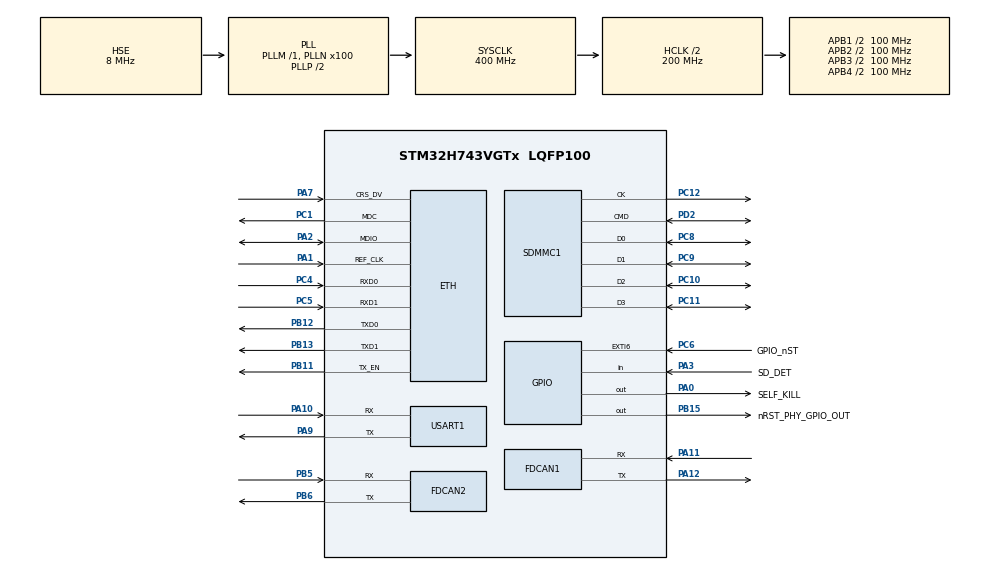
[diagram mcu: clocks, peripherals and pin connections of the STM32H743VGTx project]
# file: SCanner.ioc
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CORTEX_M7.AccessPermission_S-Cortex_Memory_Protection_Unit_Region1_Settings_S=MPU_REGION_FULL_ACCESS
CORTEX_M7.AccessPermission_S-Cortex_Memory_Protection_Unit_Region2_Settings_S=MPU_REGION_FULL_ACCESS
CORTEX_M7.BaseAddress_S-Cortex_Memory_Protection_Unit_Region1_Settings_S=0x30020000
CORTEX_M7.BaseAddress_S-Cortex_Memory_Protection_Unit_Region2_Settings_S=0x30040000
CORTEX_M7.CPU_DCache=Enabled
CORTEX_M7.CPU_ICache=Enabled
CORTEX_M7.DisableExec_S-Cortex_Memory_Protection_Unit_Region2_Settings_S=MPU_INSTRUCTION_ACCESS_DISABLE
CORTEX_M7.Enable-Cortex_Memory_Protection_Unit_Region0_Settings=MPU_REGION_ENABLE
CORTEX_M7.Enable-Cortex_Memory_Protection_Unit_Region1_Settings=MPU_REGION_ENABLE
CORTEX_M7.Enable_S-Cortex_Memory_Protection_Unit_Region1_Settings_S=MPU_REGION_ENABLE
CORTEX_M7.Enable_S-Cortex_Memory_Protection_Unit_Region2_Settings_S=MPU_REGION_ENABLE
CORTEX_M7.IsBufferable_S-Cortex_Memory_Protection_Unit_Region2_Settings_S=MPU_ACCESS_BUFFERABLE
CORTEX_M7.IsShareable_S-Cortex_Memory_Protection_Unit_Region2_Settings_S=MPU_ACCESS_SHAREABLE
CORTEX_M7.MPU_Control=MPU_PRIVILEGED_DEFAULT
CORTEX_M7.Size_S-Cortex_Memory_Protection_Unit_Region1_Settings_S=MPU_REGION_SIZE_128KB
CORTEX_M7.Size_S-Cortex_Memory_Protection_Unit_Region2_Settings_S=MPU_REGION_SIZE_512B
CORTEX_M7.TypeExtField_S-Cortex_Memory_Protection_Unit_Region1_Settings_S=MPU_TEX_LEVEL1
CORTEX_M7.default_mode_Activation=1
ETH.MediaInterface=HAL_ETH_RMII_MODE
ETH.RxDescAddress=0x30040000
ETH.TxDescAddress=0x30040200
FATFS.BSP.number=1
FATFS._FS_LOCK=10
FATFS._FS_RPATH=1
FATFS._MAX_SS=512
FATFS._USE_MUTEX=1
FATFS0.BSP.STBoard=false
FATFS0.BSP.api=Unknown
FATFS0.BSP.instance=PA3
FATFS0.BSP.ip=GPIO
FATFS0.BSP.mode=Input
FATFS0.BSP.name=Detect_SDIO
FATFS0.BSP.solution=PA3
FDCAN1.AutoRetransmission=DISABLE
FDCAN1.CalculateBaudRateNominal=1000000
FDCAN1.CalculateTimeBitNominal=1000
FDCAN1.CalculateTimeQuantumNominal=10.0
FDCAN1.ClockCalibrationCCU=DISABLE
FDCAN1.DataPrescaler=10
FDCAN1.DataTimeSeg1=8
FDCAN1.Mode=FDCAN_MODE_BUS_MONITORING
FDCAN1.NominalPrescaler=1
FDCAN1.NominalSyncJumpWidth=13
FDCAN1.NominalTimeSeg1=86
FDCAN1.NominalTimeSeg2=13
FDCAN1.ProtocolException=DISABLE
FDCAN1.RxFifo0ElmtsNbr=64
FDCAN1.StdFiltersNbr=1
FDCAN1.TxFifoQueueElmtsNbr=32
FDCAN2.AutoRetransmission=DISABLE
FDCAN2.CalculateBaudRateNominal=1000000
FDCAN2.CalculateTimeBitNominal=1000
FDCAN2.CalculateTimeQuantumNominal=10.0
FDCAN2.DataPrescaler=10
FDCAN2.DataTimeSeg1=8
FDCAN2.MessageRAMOffset=385
FDCAN2.Mode=FDCAN_MODE_BUS_MONITORING
FDCAN2.NominalPrescaler=1
FDCAN2.NominalTimeSeg1=86
FDCAN2.NominalTimeSeg2=13
FDCAN2.ProtocolException=DISABLE
FDCAN2.RxFifo0ElmtsNbr=0
FDCAN2.RxFifo1ElmtsNbr=64
FDCAN2.StdFiltersNbr=1
FDCAN2.TxFifoQueueElmtsNbr=32
FREERTOS.Events01=System_InitEvent,Static,System_InitEventControlBlock
FREERTOS.Mutexes01=SDCARD_FILE_LOCK,Static,SDCARD_FILE_LOCKControlBlock;SDCARD_DIR_LOCK,Static,SDCARD_DIR_LOCKControlBlock
FREERTOS.Tasks01=defaultTask,24,2048,StartDefaultTask,Default,NULL,Static,defaultTaskBuffer,defaultTaskControlBlock;can1TaskName,24,256,canTask,As external,&can1_network,Static,can1TaskNameBuffer,can1TaskNameControlBlock;can2TaskName,24,256,canTask,As external,&can2_network,Static,can2TaskNameBuffer,can2TaskNameControlBlock;cnl1TaskName,24,512,cannelloniTask,As external,&cnl1_handle,Static,cnl1TaskNameBuffer,cnl1TaskNameControlBlock;cnl2TaskName,24,512,cannelloniTask,As external,&cnl2_handle,Static,cnl2TaskNameBuffer,cnl2TaskNameControlBlock;sdcardTaskName,32,2048,sdcardTask,As external,NULL,Static,sdcardTaskNameBuffer,sdcardTaskNameControlBlock;InitTaskName,40,512,InitTask,Default,NULL,Static,InitTaskNameBuffer,InitTaskNameControlBlock
FREERTOS.configCHECK_FOR_STACK_OVERFLOW=1
FREERTOS.configENABLE_FPU=1
FREERTOS.configUSE_PREEMPTION=1
LWIP.BSP.number=1
LWIP.HTTPD_TCP_PRIO=100
LWIP.HTTPD_USE_CUSTOM_FSDATA=1
LWIP.HTTPD_USE_MEM_POOL=0
LWIP.IP_ADDRESS=192.168.010.111
LWIP.LWIP_DHCP=0
LWIP.LWIP_DNS=0
LWIP.LWIP_HTTPD=1
LWIP.LWIP_HTTPD_CUSTOM_FILES=1
LWIP.LWIP_HTTPD_DYNAMIC_FILE_READ=1
LWIP.LWIP_HTTPD_DYNAMIC_HEADERS=0
LWIP.LWIP_RAM_HEAP_POINTER=0x30020000\t
LWIP.LWIP_SMTP=0
LWIP.LWIP_TFTP=1
LWIP.MEM_SIZE=131048
LWIP.NETMASK_ADDRESS=255.255.255.000
LWIP.TFTP_MAX_FILENAME_LEN=50
LWIP.Version=v2.1.2_Cube
LWIP0.BSP.STBoard=false
LWIP0.BSP.api=BSP_COMPONENT_DRIVER
LWIP0.BSP.component=LAN8742
LWIP0.BSP.instance=LAN8742
LWIP0.BSP.name=Driver_PHY
LWIP0.BSP.semaphore=S_LAN8742
LWIP0.BSP.solution=LAN8742
Mcu.Family=STM32H7
Mcu.Name=STM32H743VGTx
Mcu.Package=LQFP100
Mcu.UserConstants=LWIP_Init_Done,0x1;SDCARD_Init_Done,0x2
NVIC.ETH_IRQn=true\:5\:0\:false\:false\:true\:true\:true\:true\:true
NVIC.EXTI9_5_IRQn=true\:5\:0\:false\:false\:true\:true\:true\:true\:true
NVIC.FDCAN1_IT0_IRQn=true\:5\:0\:false\:false\:true\:true\:true\:true\:true
NVIC.FDCAN1_IT1_IRQn=true\:5\:0\:false\:false\:true\:true\:true\:true\:true
NVIC.FDCAN2_IT0_IRQn=true\:5\:0\:false\:false\:true\:true\:true\:true\:true
NVIC.FDCAN2_IT1_IRQn=true\:5\:0\:false\:false\:true\:true\:true\:true\:true
NVIC.FDCAN_CAL_IRQn=true\:5\:0\:false\:false\:true\:true\:true\:true\:true
NVIC.PriorityGroup=NVIC_PRIORITYGROUP_4
NVIC.SDMMC1_IRQn=true\:5\:0\:false\:false\:true\:true\:true\:true\:true
NVIC.TIM3_IRQn=true\:5\:0\:false\:false\:true\:true\:true\:true\:true
NVIC.TIM6_DAC_IRQn=true\:15\:0\:false\:false\:true\:false\:false\:true\:true
NVIC.TimeBase=TIM6_DAC_IRQn
NVIC.TimeBaseIP=TIM6
PA0.GPIO_Label=SELF_KILL
PA0.Signal=GPIO_Output
PA1.GPIO_PuPd=GPIO_NOPULL
PA1.GPIO_Speed=GPIO_SPEED_FREQ_VERY_HIGH
PA1.Mode=RMII
PA1.Signal=ETH_REF_CLK
PA10.Mode=Asynchronous
PA10.Signal=USART1_RX
PA11.Mode=FDCAN_Activate
PA11.Signal=FDCAN1_RX
PA12.Mode=FDCAN_Activate
PA12.Signal=FDCAN1_TX
PA13\ (JTMS/SWDIO).Mode=JTAG_4_pins
PA13\ (JTMS/SWDIO).Signal=DEBUG_JTMS-SWDIO
PA14\ (JTCK/SWCLK).Mode=JTAG_4_pins
PA14\ (JTCK/SWCLK).Signal=DEBUG_JTCK-SWCLK
PA15\ (JTDI).Mode=JTAG_4_pins
PA15\ (JTDI).Signal=DEBUG_JTDI
PA2.GPIO_PuPd=GPIO_NOPULL
PA2.GPIO_Speed=GPIO_SPEED_FREQ_VERY_HIGH
PA2.Mode=RMII
PA2.Signal=ETH_MDIO
PA3.GPIO_Label=SD_DET
PA3.Signal=GPIO_Input
PA7.GPIO_PuPd=GPIO_NOPULL
PA7.GPIO_Speed=GPIO_SPEED_FREQ_VERY_HIGH
PA7.Mode=RMII
PA7.Signal=ETH_CRS_DV
PA9.Mode=Asynchronous
PA9.Signal=USART1_TX
PB11.GPIO_Speed=GPIO_SPEED_FREQ_VERY_HIGH
PB11.Mode=RMII
PB11.Signal=ETH_TX_EN
PB12.GPIO_Speed=GPIO_SPEED_FREQ_VERY_HIGH
PB12.Mode=RMII
PB12.Signal=ETH_TXD0
PB13.GPIO_Speed=GPIO_SPEED_FREQ_VERY_HIGH
PB13.Mode=RMII
PB13.Signal=ETH_TXD1
PB15.GPIO_Label=nRST_PHY_GPIO_OUT
PB15.Signal=GPIO_Output
PB3\ (JTDO/TRACESWO).Mode=JTAG_4_pins
PB3\ (JTDO/TRACESWO).Signal=DEBUG_JTDO-SWO
PB5.Mode=FDCAN_Activate
PB5.Signal=FDCAN2_RX
PB6.Mode=FDCAN_Activate
PB6.Signal=FDCAN2_TX
PC1.GPIO_Speed=GPIO_SPEED_FREQ_LOW
PC1.Mode=RMII
PC1.Signal=ETH_MDC
PC10.Mode=SD_4_bits_Wide_bus
PC10.Signal=SDMMC1_D2
PC11.Mode=SD_4_bits_Wide_bus
PC11.Signal=SDMMC1_D3
PC12.Mode=SD_4_bits_Wide_bus
PC12.Signal=SDMMC1_CK
PC4.GPIO_PuPd=GPIO_NOPULL
PC4.GPIO_Speed=GPIO_SPEED_FREQ_VERY_HIGH
PC4.Mode=RMII
PC4.Signal=ETH_RXD0
PC5.GPIO_PuPd=GPIO_NOPULL
PC5.GPIO_Speed=GPIO_SPEED_FREQ_VERY_HIGH
PC5.Mode=RMII
PC5.Signal=ETH_RXD1
PC6.GPIO_Label=GPIO_nST
PC6.GPIO_ModeDefaultEXTI=GPIO_MODE_IT_FALLING
PC6.GPIO_PuPd=GPIO_PULLDOWN
PC6.Signal=GPXTI6
PC8.Mode=SD_4_bits_Wide_bus
PC8.Signal=SDMMC1_D0
PC9.Mode=SD_4_bits_Wide_bus
PC9.Signal=SDMMC1_D1
PD2.Mode=SD_4_bits_Wide_bus
PD2.Signal=SDMMC1_CMD
PH0-OSC_IN\ (PH0).Mode=HSE-External-Oscillator
PH0-OSC_IN\ (PH0).Signal=RCC_OSC_IN
PH1-OSC_OUT\ (PH1).Mode=HSE-External-Oscillator
PH1-OSC_OUT\ (PH1).Signal=RCC_OSC_OUT
ProjectManager.HeapSize=0x200
ProjectManager.StackSize=0x400
ProjectManager.TargetToolchain=Makefile
RCC.ADCFreq_Value=16125000
RCC.APB1Freq_Value=100000000
RCC.APB2Freq_Value=100000000
RCC.APB3Freq_Value=100000000
RCC.APB4Freq_Value=100000000
RCC.CortexFreq_Value=400000000
RCC.D1PPRE=RCC_APB3_DIV2
RCC.D2PPRE1=RCC_APB1_DIV2
RCC.D2PPRE2=RCC_APB2_DIV2
RCC.D3PPRE=RCC_APB4_DIV2
RCC.DIVM1=1
RCC.DIVN1=100
RCC.DIVQ1=8
RCC.HCLKFreq_Value=200000000
RCC.HPRE=RCC_HCLK_DIV2
RCC.HSE_VALUE=8000000
RCC.PLLFRACN=0
RCC.PLLSourceVirtual=RCC_PLLSOURCE_HSE
RCC.SYSCLKFreq_VALUE=400000000
RCC.SYSCLKSource=RCC_SYSCLKSOURCE_PLLCLK
RCC.USBFreq_Value=100000000
SDMMC1.ClockDiv=6
SDMMC1.HardwareFlowControl=SDMMC_HARDWARE_FLOW_CONTROL_ENABLE
TIM3.ClockDivision=TIM_CLOCKDIVISION_DIV1
TIM3.Prescaler=1999
USART1.VirtualMode-Asynchronous=VM_ASYNC
VP_FATFS_VS_SDIO.Mode=SDIO
VP_FREERTOS_VS_CMSIS_V2.Mode=CMSIS_V2
VP_LWIP_VS_Enabled.Mode=Enabled
VP_SYS_VS_tim6.Mode=TIM6
VP_TIM3_VS_ClockSourceINT.Mode=Internal
board=custom

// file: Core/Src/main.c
/* USER CODE BEGIN Header */
/**
  ******************************************************************************
  * @file           : main.c
  * @brief          : Main program body
  ******************************************************************************
  * @attention
  *
  * Copyright (c) 2024 STMicroelectronics.
  * All rights reserved.
  *
  * This software is licensed under terms that can be found in the LICENSE file
  * in the root directory of this software component.
  * If no LICENSE file comes with this software, it is provided AS-IS.
  *
  ******************************************************************************
  */
/* USER CODE END Header */
#include "main.h"
#include "cmsis_os.h"
#include "fatfs.h"
#include "fdcan.h"
#include "lwip.h"
#include "sdmmc.h"
#include "tim.h"
#include "usart.h"
#include "gpio.h"

/* USER CODE BEGIN Includes */
#include "can_task.h"
/* USER CODE END Includes */

void SystemClock_Config(void);
static void MPU_Config(void);
void MX_FREERTOS_Init(void);

int main(void)
{

  /* MPU Configuration--------------------------------------------------------*/
  MPU_Config();

  /* Enable the CPU Cache */

  /* Enable I-Cache---------------------------------------------------------*/
  SCB_EnableICache();

  /* Enable D-Cache---------------------------------------------------------*/
  SCB_EnableDCache();

  /* MCU Configuration--------------------------------------------------------*/

  /* Reset of all peripherals, Initializes the Flash interface and the Systick. */
  HAL_Init();

  /* Configure the system clock */
  SystemClock_Config();

  /* Initialize all configured peripherals */
  MX_GPIO_Init();
  MX_FDCAN2_Init();
  MX_SDMMC1_SD_Init();
  MX_USART1_UART_Init();
  MX_FDCAN1_Init();
  MX_FATFS_Init();
  MX_TIM3_Init();

  /* Init scheduler */
  osKernelInitialize();

  /* Call init function for freertos objects (in cmsis_os2.c) */
  MX_FREERTOS_Init();

  /* Start scheduler */
  osKernelStart();

  /* We should never get here as control is now taken by the scheduler */

  /* Infinite loop */
  while (1)
  {

  }
}

void SystemClock_Config(void)
{
  RCC_OscInitTypeDef RCC_OscInitStruct = {0};
  RCC_ClkInitTypeDef RCC_ClkInitStruct = {0};

  /** Supply configuration update enable
  */
  HAL_PWREx_ConfigSupply(PWR_LDO_SUPPLY);

  /** Configure the main internal regulator output voltage
  */
  __HAL_PWR_VOLTAGESCALING_CONFIG(PWR_REGULATOR_VOLTAGE_SCALE1);

  while(!__HAL_PWR_GET_FLAG(PWR_FLAG_VOSRDY)) {}

  /** Initializes the RCC Oscillators according to the specified parameters
  * in the RCC_OscInitTypeDef structure.
  */
  RCC_OscInitStruct.OscillatorType = RCC_OSCILLATORTYPE_HSE;
  RCC_OscInitStruct.HSEState = RCC_HSE_ON;
  RCC_OscInitStruct.PLL.PLLState = RCC_PLL_ON;
  RCC_OscInitStruct.PLL.PLLSource = RCC_PLLSOURCE_HSE;
  RCC_OscInitStruct.PLL.PLLM = 1;
  RCC_OscInitStruct.PLL.PLLN = 100;
  RCC_OscInitStruct.PLL.PLLP = 2;
  RCC_OscInitStruct.PLL.PLLQ = 8;
  RCC_OscInitStruct.PLL.PLLR = 2;
  RCC_OscInitStruct.PLL.PLLRGE = RCC_PLL1VCIRANGE_3;
  RCC_OscInitStruct.PLL.PLLVCOSEL = RCC_PLL1VCOWIDE;
  RCC_OscInitStruct.PLL.PLLFRACN = 0;
  if (HAL_RCC_OscConfig(&RCC_OscInitStruct) != HAL_OK)
  {
    Error_Handler();
  }

  /** Initializes the CPU, AHB and APB buses clocks
  */
  RCC_ClkInitStruct.ClockType = RCC_CLOCKTYPE_HCLK|RCC_CLOCKTYPE_SYSCLK
                              |RCC_CLOCKTYPE_PCLK1|RCC_CLOCKTYPE_PCLK2
                              |RCC_CLOCKTYPE_D3PCLK1|RCC_CLOCKTYPE_D1PCLK1;
  RCC_ClkInitStruct.SYSCLKSource = RCC_SYSCLKSOURCE_PLLCLK;
  RCC_ClkInitStruct.SYSCLKDivider = RCC_SYSCLK_DIV1;
  RCC_ClkInitStruct.AHBCLKDivider = RCC_HCLK_DIV2;
  RCC_ClkInitStruct.APB3CLKDivider = RCC_APB3_DIV2;
  RCC_ClkInitStruct.APB1CLKDivider = RCC_APB1_DIV2;
  RCC_ClkInitStruct.APB2CLKDivider = RCC_APB2_DIV2;
  RCC_ClkInitStruct.APB4CLKDivider = RCC_APB4_DIV2;

  if (HAL_RCC_ClockConfig(&RCC_ClkInitStruct, FLASH_LATENCY_2) != HAL_OK)
  {
    Error_Handler();
  }
}

 /* MPU Configuration */

void MPU_Config(void)
{
  MPU_Region_InitTypeDef MPU_InitStruct = {0};

  /* Disables the MPU */
  HAL_MPU_Disable();

  /** Initializes and configures the Region and the memory to be protected
  */
  MPU_InitStruct.Enable = MPU_REGION_ENABLE;
  MPU_InitStruct.Number = MPU_REGION_NUMBER0;
  MPU_InitStruct.BaseAddress = 0x0;
  MPU_InitStruct.Size = MPU_REGION_SIZE_4GB;
  MPU_InitStruct.SubRegionDisable = 0x87;
  MPU_InitStruct.TypeExtField = MPU_TEX_LEVEL0;
  MPU_InitStruct.AccessPermission = MPU_REGION_NO_ACCESS;
  MPU_InitStruct.DisableExec = MPU_INSTRUCTION_ACCESS_DISABLE;
  MPU_InitStruct.IsShareable = MPU_ACCESS_SHAREABLE;
  MPU_InitStruct.IsCacheable = MPU_ACCESS_NOT_CACHEABLE;
  MPU_InitStruct.IsBufferable = MPU_ACCESS_NOT_BUFFERABLE;

  HAL_MPU_ConfigRegion(&MPU_InitStruct);

  /** Initializes and configures the Region and the memory to be protected
  */
  MPU_InitStruct.Number = MPU_REGION_NUMBER1;
  MPU_InitStruct.BaseAddress = 0x30020000;
  MPU_InitStruct.Size = MPU_REGION_SIZE_128KB;
  MPU_InitStruct.SubRegionDisable = 0x0;
  MPU_InitStruct.TypeExtField = MPU_TEX_LEVEL1;
  MPU_InitStruct.AccessPermission = MPU_REGION_FULL_ACCESS;
  MPU_InitStruct.DisableExec = MPU_INSTRUCTION_ACCESS_ENABLE;
  MPU_InitStruct.IsShareable = MPU_ACCESS_NOT_SHAREABLE;

  HAL_MPU_ConfigRegion(&MPU_InitStruct);

  /** Initializes and configures the Region and the memory to be protected
  */
  MPU_InitStruct.Number = MPU_REGION_NUMBER2;
  MPU_InitStruct.BaseAddress = 0x30040000;
  MPU_InitStruct.Size = MPU_REGION_SIZE_512B;
  MPU_InitStruct.TypeExtField = MPU_TEX_LEVEL0;
  MPU_InitStruct.DisableExec = MPU_INSTRUCTION_ACCESS_DISABLE;
  MPU_InitStruct.IsShareable = MPU_ACCESS_SHAREABLE;
  MPU_InitStruct.IsBufferable = MPU_ACCESS_BUFFERABLE;

  HAL_MPU_ConfigRegion(&MPU_InitStruct);
  /* Enables the MPU */
  HAL_MPU_Enable(MPU_PRIVILEGED_DEFAULT);

}

void HAL_TIM_PeriodElapsedCallback(TIM_HandleTypeDef *htim)
{
  /* USER CODE BEGIN Callback 0 */
  if(htim->Instance == TIM3) {
    can_task_inc_wac();
  } else
  /* USER CODE END Callback 0 */
  if (htim->Instance == TIM6) {
    HAL_IncTick();
  }
}

void Error_Handler(void)
{
  __disable_irq();
  while (1)
  {
  }
}

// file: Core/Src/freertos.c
/* USER CODE BEGIN Header */
/**
  ******************************************************************************
  * File Name          : freertos.c
  * Description        : Code for freertos applications
  ******************************************************************************
  * @attention
  *
  * Copyright (c) 2024 STMicroelectronics.
  * All rights reserved.
  *
  * This software is licensed under terms that can be found in the LICENSE file
  * in the root directory of this software component.
  * If no LICENSE file comes with this software, it is provided AS-IS.
  *
  ******************************************************************************
  */
/* USER CODE END Header */

#include "FreeRTOS.h"
#include "task.h"
#include "main.h"
#include "cmsis_os.h"

/* USER CODE BEGIN Includes */
#include "usart.h"
#include "cannelloni_task.h"
#include "can_task.h"
#include "fatfs.h"
#include "sdcard.h"
#include "fs.h"
#include "sdcard_task.h"
#include "http_server.h"
#include "tftp_if.h"
/* USER CODE END Includes */

typedef StaticTask_t osStaticThreadDef_t;
typedef StaticEventGroup_t osStaticEventGroupDef_t;

/* USER CODE BEGIN Variables */
extern cannelloni_handle_t cnl1_handle;
extern cannelloni_handle_t cnl2_handle;

extern canNetwork_t can1_network;
extern canNetwork_t can2_network;
/* USER CODE END Variables */
/* Definitions for defaultTask */
osThreadId_t defaultTaskHandle;
uint32_t defaultTaskBuffer[ 2048 ];
osStaticThreadDef_t defaultTaskControlBlock;
const osThreadAttr_t defaultTask_attributes = {
  .name = "defaultTask",
  .cb_mem = &defaultTaskControlBlock,
  .cb_size = sizeof(defaultTaskControlBlock),
  .stack_mem = &defaultTaskBuffer[0],
  .stack_size = sizeof(defaultTaskBuffer),
  .priority = (osPriority_t) osPriorityNormal,
};
/* Definitions for can1TaskName */
osThreadId_t can1TaskNameHandle;
uint32_t can1TaskNameBuffer[ 256 ];
osStaticThreadDef_t can1TaskNameControlBlock;
const osThreadAttr_t can1TaskName_attributes = {
  .name = "can1TaskName",
  .cb_mem = &can1TaskNameControlBlock,
  .cb_size = sizeof(can1TaskNameControlBlock),
  .stack_mem = &can1TaskNameBuffer[0],
  .stack_size = sizeof(can1TaskNameBuffer),
  .priority = (osPriority_t) osPriorityNormal,
};
/* Definitions for can2TaskName */
osThreadId_t can2TaskNameHandle;
uint32_t can2TaskNameBuffer[ 256 ];
osStaticThreadDef_t can2TaskNameControlBlock;
const osThreadAttr_t can2TaskName_attributes = {
  .name = "can2TaskName",
  .cb_mem = &can2TaskNameControlBlock,
  .cb_size = sizeof(can2TaskNameControlBlock),
  .stack_mem = &can2TaskNameBuffer[0],
  .stack_size = sizeof(can2TaskNameBuffer),
  .priority = (osPriority_t) osPriorityNormal,
};
/* Definitions for cnl1TaskName */
osThreadId_t cnl1TaskNameHandle;
uint32_t cnl1TaskNameBuffer[ 512 ];
osStaticThreadDef_t cnl1TaskNameControlBlock;
const osThreadAttr_t cnl1TaskName_attributes = {
  .name = "cnl1TaskName",
  .cb_mem = &cnl1TaskNameControlBlock,
  .cb_size = sizeof(cnl1TaskNameControlBlock),
  .stack_mem = &cnl1TaskNameBuffer[0],
  .stack_size = sizeof(cnl1TaskNameBuffer),
  .priority = (osPriority_t) osPriorityNormal,
};
/* Definitions for cnl2TaskName */
osThreadId_t cnl2TaskNameHandle;
uint32_t cnl2TaskNameBuffer[ 512 ];
osStaticThreadDef_t cnl2TaskNameControlBlock;
const osThreadAttr_t cnl2TaskName_attributes = {
  .name = "cnl2TaskName",
  .cb_mem = &cnl2TaskNameControlBlock,
  .cb_size = sizeof(cnl2TaskNameControlBlock),
  .stack_mem = &cnl2TaskNameBuffer[0],
  .stack_size = sizeof(cnl2TaskNameBuffer),
  .priority = (osPriority_t) osPriorityNormal,
};
/* Definitions for sdcardTaskName */
osThreadId_t sdcardTaskNameHandle;
uint32_t sdcardTaskNameBuffer[ 2048 ];
osStaticThreadDef_t sdcardTaskNameControlBlock;
const osThreadAttr_t sdcardTaskName_attributes = {
  .name = "sdcardTaskName",
  .cb_mem = &sdcardTaskNameControlBlock,
  .cb_size = sizeof(sdcardTaskNameControlBlock),
  .stack_mem = &sdcardTaskNameBuffer[0],
  .stack_size = sizeof(sdcardTaskNameBuffer),
  .priority = (osPriority_t) osPriorityAboveNormal,
};
/* Definitions for InitTaskName */
osThreadId_t InitTaskNameHandle;
uint32_t InitTaskNameBuffer[ 512 ];
osStaticThreadDef_t InitTaskNameControlBlock;
const osThreadAttr_t InitTaskName_attributes = {
  .name = "InitTaskName",
  .cb_mem = &InitTaskNameControlBlock,
  .cb_size = sizeof(InitTaskNameControlBlock),
  .stack_mem = &InitTaskNameBuffer[0],
  .stack_size = sizeof(InitTaskNameBuffer),
  .priority = (osPriority_t) osPriorityHigh,
};
/* Definitions for SDCARD_FILE_LOCK */
osMutexId_t SDCARD_FILE_LOCKHandle;
const osMutexAttr_t SDCARD_FILE_LOCK_attributes = {
  .name = "SDCARD_FILE_LOCK"
};
/* Definitions for SDCARD_DIR_LOCK */
osMutexId_t SDCARD_DIR_LOCKHandle;
const osMutexAttr_t SDCARD_DIR_LOCK_attributes = {
  .name = "SDCARD_DIR_LOCK"
};
/* Definitions for System_InitEvent */
osEventFlagsId_t System_InitEventHandle;
osStaticEventGroupDef_t System_InitEventControlBlock;
const osEventFlagsAttr_t System_InitEvent_attributes = {
  .name = "System_InitEvent",
  .cb_mem = &System_InitEventControlBlock,
  .cb_size = sizeof(System_InitEventControlBlock),
};

void StartDefaultTask(void *argument);
extern void canTask(void *argument);
extern void cannelloniTask(void *argument);
extern void sdcardTask(void *argument);
void InitTask(void *argument);

extern void MX_LWIP_Init(void);
void MX_FREERTOS_Init(void); /* (MISRA C 2004 rule 8.1) */

/* Hook prototypes */
void vApplicationStackOverflowHook(xTaskHandle xTask, signed char *pcTaskName);

/* USER CODE BEGIN 4 */
void vApplicationStackOverflowHook(xTaskHandle xTask, signed char *pcTaskName)
{
   /* ETH_CODE: add breakpoint when stack oveflow is detected by FreeRTOS.
    * Useful for debugging issues.
    */
   __BKPT(0);
}
/* USER CODE END 4 */

void MX_FREERTOS_Init(void) {
  /* USER CODE BEGIN Init */
  HAL_GPIO_WritePin(nRST_PHY_GPIO_OUT_GPIO_Port, nRST_PHY_GPIO_OUT_Pin, GPIO_PIN_RESET);

  IP4_ADDR(&(cnl1_handle.Init.addr), 192, 168, 10, 255);
  IP4_ADDR(&(cnl2_handle.Init.addr), 192, 168, 10, 255);

  HAL_GPIO_WritePin(nRST_PHY_GPIO_OUT_GPIO_Port, nRST_PHY_GPIO_OUT_Pin, GPIO_PIN_SET);

  /* USER CODE END Init */
  /* Create the mutex(es) */
  /* creation of SDCARD_FILE_LOCK */
  SDCARD_FILE_LOCKHandle = osMutexNew(&SDCARD_FILE_LOCK_attributes);

  /* creation of SDCARD_DIR_LOCK */
  SDCARD_DIR_LOCKHandle = osMutexNew(&SDCARD_DIR_LOCK_attributes);

  /* Create the thread(s) */
  /* creation of defaultTask */
  defaultTaskHandle = osThreadNew(StartDefaultTask, NULL, &defaultTask_attributes);

  /* creation of can1TaskName */
  can1TaskNameHandle = osThreadNew(canTask, (void*) &can1_network, &can1TaskName_attributes);

  /* creation of can2TaskName */
  can2TaskNameHandle = osThreadNew(canTask, (void*) &can2_network, &can2TaskName_attributes);

  /* creation of cnl1TaskName */
  cnl1TaskNameHandle = osThreadNew(cannelloniTask, (void*) &cnl1_handle, &cnl1TaskName_attributes);

  /* creation of cnl2TaskName */
  cnl2TaskNameHandle = osThreadNew(cannelloniTask, (void*) &cnl2_handle, &cnl2TaskName_attributes);

  /* creation of sdcardTaskName */
  sdcardTaskNameHandle = osThreadNew(sdcardTask, NULL, &sdcardTaskName_attributes);

  /* creation of InitTaskName */
  InitTaskNameHandle = osThreadNew(InitTask, NULL, &InitTaskName_attributes);

  /* creation of System_InitEvent */
  System_InitEventHandle = osEventFlagsNew(&System_InitEvent_attributes);

}

void StartDefaultTask(void *argument)
{
  /* init code for LWIP */
  MX_LWIP_Init();
  /* USER CODE BEGIN StartDefaultTask */
  HAL_UART_Transmit(&huart1, (uint8_t*)"***SCanner***\r\n", 15, 10);
  /* Infinite loop */
  osThreadExit();
  /* USER CODE END StartDefaultTask */
}

/* USER CODE BEGIN Header_InitTask */
/**
* @brief Function implementing the InitTaskName thread.
* @param argument: Not used
* @retval None
*/
extern char dirname[16];
/* USER CODE END Header_InitTask */
void InitTask(void *argument)
{
  /* USER CODE BEGIN InitTask */
  sdcard_init();

  // osDelay(1000);

  osEventFlagsWait(System_InitEventHandle, LWIP_Init_Done, osFlagsWaitAny, portMAX_DELAY);

  http_server_init();
  tftp_if_init();

  canEnable(can1_network.Init.hfdcan, can1_network.Init.ActiveITs);
  canEnable(can2_network.Init.hfdcan, can2_network.Init.ActiveITs);

  uint32_t not_val;
  char new_dirname[32];

  while(1) {
    if(xTaskNotifyWait(0, 0x1, &not_val, portMAX_DELAY)) {
      // HAL_UART_Transmit(&huart1, "starting self-kill procedure\r\n", 30, 10);

      canDisable(can1_network.Init.hfdcan, can1_network.Init.ActiveITs);
      canDisable(can2_network.Init.hfdcan, can2_network.Init.ActiveITs);

      sdcardForceSync();
      sdcard_deinit();

      // sprintf(new_dirname, "%s_%lus", dirname, osKernelGetTickCount()/osKernelGetTickFreq());
      // volatile FRESULT res = f_rename(dirname, new_dirname);

      f_mount(NULL, "", 0);

      HAL_GPIO_WritePin(SELF_KILL_GPIO_Port, SELF_KILL_Pin, GPIO_PIN_SET); // self-kill
    }
  }
  /* USER CODE END InitTask */
}

/* USER CODE BEGIN Application */
void HAL_GPIO_EXTI_Callback(uint16_t GPIO_Pin) {
  BaseType_t hptw;
  if(GPIO_Pin == 64) { //power source switched to backup battery
      xTaskNotifyFromISR(InitTaskNameHandle, 0x1, eSetValueWithOverwrite, &hptw);
      portYIELD_FROM_ISR(hptw);
  }
}

/* USER CODE END Application */
